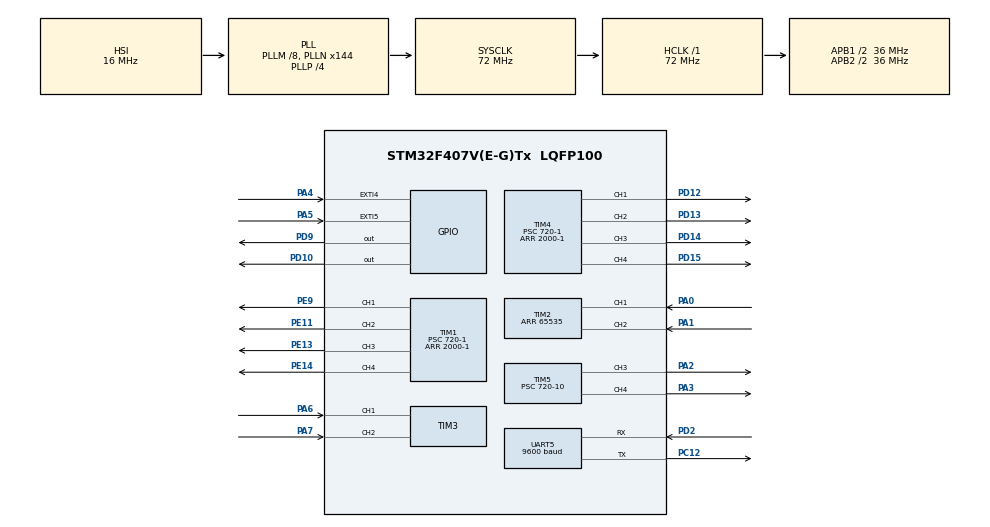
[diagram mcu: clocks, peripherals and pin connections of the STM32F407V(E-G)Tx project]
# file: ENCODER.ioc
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Mcu.Family=STM32F4
Mcu.Name=STM32F407V(E-G)Tx
Mcu.Package=LQFP100
NVIC.EXTI4_IRQn=true\:0\:0\:false\:false\:true\:true\:true
NVIC.EXTI9_5_IRQn=true\:0\:0\:false\:false\:true\:true\:true
NVIC.PriorityGroup=NVIC_PRIORITYGROUP_0
NVIC.UART5_IRQn=true\:0\:0\:false\:false\:true\:true\:true
PA0-WKUP.Signal=S_TIM2_CH1_ETR
PA1.Signal=S_TIM2_CH2
PA13.Mode=Serial_Wire
PA13.Signal=SYS_JTMS-SWDIO
PA14.Mode=Serial_Wire
PA14.Signal=SYS_JTCK-SWCLK
PA2.Signal=S_TIM5_CH3
PA3.Signal=S_TIM5_CH4
PA4.GPIO_ModeDefaultEXTI=GPIO_MODE_IT_RISING_FALLING
PA4.Signal=GPXTI4
PA5.GPIO_ModeDefaultEXTI=GPIO_MODE_IT_RISING_FALLING
PA5.Signal=GPXTI5
PA6.Signal=S_TIM3_CH1
PA7.Signal=S_TIM3_CH2
PC12.Mode=Asynchronous
PC12.Signal=UART5_TX
PC14-OSC32_IN.Mode=LSE-External-Oscillator
PC14-OSC32_IN.Signal=RCC_OSC32_IN
PC15-OSC32_OUT.Mode=LSE-External-Oscillator
PC15-OSC32_OUT.Signal=RCC_OSC32_OUT
PD10.Signal=GPIO_Output
PD12.Signal=S_TIM4_CH1
PD13.Signal=S_TIM4_CH2
PD14.Signal=S_TIM4_CH3
PD15.Signal=S_TIM4_CH4
PD2.Mode=Asynchronous
PD2.Signal=UART5_RX
PD9.Signal=GPIO_Output
PE11.Signal=S_TIM1_CH2
PE13.Signal=S_TIM1_CH3
PE14.Signal=S_TIM1_CH4
PE9.Signal=S_TIM1_CH1
PH0-OSC_IN.Mode=HSE-External-Oscillator
PH0-OSC_IN.Signal=RCC_OSC_IN
PH1-OSC_OUT.Mode=HSE-External-Oscillator
PH1-OSC_OUT.Signal=RCC_OSC_OUT
ProjectManager.HeapSize=0x200
ProjectManager.StackSize=0x400
ProjectManager.TargetToolchain=STM32CubeIDE
RCC.48MHZClocksFreq_Value=41142857.14285714
RCC.AHBFreq_Value=72000000
RCC.APB1CLKDivider=RCC_HCLK_DIV2
RCC.APB1Freq_Value=36000000
RCC.APB1TimFreq_Value=72000000
RCC.APB2CLKDivider=RCC_HCLK_DIV2
RCC.APB2Freq_Value=36000000
RCC.APB2TimFreq_Value=72000000
RCC.CortexFreq_Value=72000000
RCC.HCLKFreq_Value=72000000
RCC.HSE_VALUE=8000000
RCC.HSI_VALUE=16000000
RCC.PLLM=8
RCC.PLLN=144
RCC.PLLP=RCC_PLLP_DIV4
RCC.PLLQ=7
RCC.SYSCLKFreq_VALUE=72000000
RCC.SYSCLKSource=RCC_SYSCLKSOURCE_PLLCLK
RCC.VCOOutputFreq_Value=288000000
SH.S_TIM1_CH1.0=TIM1_CH1,PWM Generation1 CH1
SH.S_TIM1_CH2.0=TIM1_CH2,PWM Generation2 CH2
SH.S_TIM1_CH3.0=TIM1_CH3,PWM Generation3 CH3
SH.S_TIM1_CH4.0=TIM1_CH4,PWM Generation4 CH4
SH.S_TIM2_CH1_ETR.0=TIM2_CH1,Encoder_Interface
SH.S_TIM2_CH2.0=TIM2_CH2,Encoder_Interface
SH.S_TIM3_CH1.0=TIM3_CH1,Encoder_Interface
SH.S_TIM3_CH2.0=TIM3_CH2,Encoder_Interface
SH.S_TIM4_CH1.0=TIM4_CH1,PWM Generation1 CH1
SH.S_TIM4_CH2.0=TIM4_CH2,PWM Generation2 CH2
SH.S_TIM4_CH3.0=TIM4_CH3,PWM Generation3 CH3
SH.S_TIM4_CH4.0=TIM4_CH4,PWM Generation4 CH4
SH.S_TIM5_CH3.0=TIM5_CH3,PWM Generation3 CH3
SH.S_TIM5_CH4.0=TIM5_CH4,PWM Generation4 CH4
TIM1.Channel-PWM\ Generation1\ CH1=TIM_CHANNEL_1
TIM1.Channel-PWM\ Generation2\ CH2=TIM_CHANNEL_2
TIM1.Channel-PWM\ Generation3\ CH3=TIM_CHANNEL_3
TIM1.Channel-PWM\ Generation4\ CH4=TIM_CHANNEL_4
TIM1.Period=2000-1
TIM1.Prescaler=720-1
TIM2.AutoReloadPreload=TIM_AUTORELOAD_PRELOAD_ENABLE
TIM2.EncoderMode=TIM_ENCODERMODE_TI12
TIM2.IC1Filter=10
TIM2.IC2Filter=10
TIM2.Period=65535
TIM3.EncoderMode=TIM_ENCODERMODE_TI12
TIM4.Channel-PWM\ Generation1\ CH1=TIM_CHANNEL_1
TIM4.Channel-PWM\ Generation2\ CH2=TIM_CHANNEL_2
TIM4.Channel-PWM\ Generation3\ CH3=TIM_CHANNEL_3
TIM4.Channel-PWM\ Generation4\ CH4=TIM_CHANNEL_4
TIM4.Period=2000-1
TIM4.Prescaler=720-1
TIM5.Channel-PWM\ Generation3\ CH3=TIM_CHANNEL_3
TIM5.Channel-PWM\ Generation4\ CH4=TIM_CHANNEL_4
TIM5.Period=2000-1
TIM5.Prescaler=720-10
UART5.BaudRate=9600
UART5.VirtualMode=Asynchronous
board=STM32F407G-DISC1

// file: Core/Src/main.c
/* USER CODE BEGIN Header */
/**
  ******************************************************************************
  * @file           : main.c
  * @brief          : Main program body
  ******************************************************************************
  * @attention
  *
  * <h2><center>&copy; Copyright (c) 2020 STMicroelectronics.
  * All rights reserved.</center></h2>
  *
  * This software component is licensed by ST under BSD 3-Clause license,
  * the "License"; You may not use this file except in compliance with the
  * License. You may obtain a copy of the License at:
  *                        opensource.org/licenses/BSD-3-Clause
  *
  ******************************************************************************
  */
/* USER CODE END Header */
#include "main.h"

/* USER CODE BEGIN Includes */
#include <math.h>
#include <stdlib.h>

/* USER CODE END Includes */

TIM_HandleTypeDef htim1;
TIM_HandleTypeDef htim2;
TIM_HandleTypeDef htim3;
TIM_HandleTypeDef htim4;
TIM_HandleTypeDef htim5;

UART_HandleTypeDef huart5;

void SystemClock_Config(void);
static void MX_GPIO_Init(void);
static void MX_TIM2_Init(void);
static void MX_TIM4_Init(void);
static void MX_UART5_Init(void);
static void MX_TIM3_Init(void);
static void MX_TIM1_Init(void);
static void MX_TIM5_Init(void);

/* USER CODE BEGIN 0 */
int ADC_val;
uint8_t servo;
int val;
int encoder;
int encoder2;
 int final_carrera;
 int final_carrera_2;
int test=0;
#define TAMBUFFER 12
double trans_time;
typedef struct {
uint8_t buffer[10];
uint8_t selector;
int coma;
int pos;

}buff;
uint8_t* pointer;
uint8_t buffer[10];  //es el bufer de lectura , espacio == 32

typedef struct{
	char buffer[4];
	int coma;
	int valor;
}Lector;

typedef struct{
float	Kp;
float Ki;
float integrador;
double current_time;
}PID_struct;

PID_struct pid = {
    .Kp = 5.2268,
    .Ki = 2.4363,
    .integrador = 0

};
PID_struct pid_base = {
    .Kp = 5.2268,
    .Ki = 2.4363,
    .integrador = 0

};

int prueba;
int prueba2;
buff receptor;
Lector servomotor;
Lector motorbase;
Lector motorcodo;
Lector gripper;

//SERVOMOTOR
float Delta_time;
int step;
int error_servo;

//varaibles PID
float error;
float error2;
float proporcional;
float proporcional2;
float integrador = 0;
float integrador2 =0 ;
float error_prev= 0;
float error_prev2;
float derivativo;
float derivativo_prev= 0;
float alpha=0.1;
float derivativo2;
int signo;
float a =5.2268;//11.5;//9 //valores teoricos 2.87
float a2 = 4;
float b = 2.4363;//16.4  //valores teoricos 8.065
float b2 =1;
float c =0; //5.5
float c2=0;
float dt;
float dt2;
float current_time;
float current_time2;
//función PID
int salidaX;
int salida2;

float pid_error;

void HAL_GPIO_EXTI_Callback(uint16_t GPIO_Pin){
	if(HAL_GPIO_ReadPin(GPIOA, GPIO_PIN_4)){
final_carrera = 1;
	 __HAL_TIM_SET_COMPARE(&htim4, TIM_CHANNEL_2, 0);
	 __HAL_TIM_SET_COMPARE(&htim4, TIM_CHANNEL_3, 0);
	}
	else{
		final_carrera = 0;
	}

	if(HAL_GPIO_ReadPin(GPIOA,GPIO_PIN_5)){
	final_carrera_2 = 1;
	__HAL_TIM_SET_COMPARE(&htim3, TIM_CHANNEL_1,0);
	__HAL_TIM_SET_COMPARE(&htim3, TIM_CHANNEL_2,0);

	}
	else
		final_carrera_2= 0;
}

char buffe[4];
int coma;

int senalbase;
int senalcodo;
int senalservo;

void HAL_UART_RxCpltCallback(UART_HandleTypeDef *huart){

if (receptor.selector == 'M'){
	 HAL_UART_Receive_IT(&huart5, (uint8_t*)motorbase.buffer,  4* sizeof(uint8_t ));
	 //enviar como ASCI para ganar resolucion y luego convertir
	 receptor.selector = 0;
	 prueba =1;
	 senalbase =1;
}

if(receptor.selector == 's'){
	HAL_UART_Receive_IT(&huart5,(uint8_t*) servomotor.buffer,   4*sizeof(char));
	receptor.selector = 0;
	senalservo = 1;
}

if(receptor.selector == 'm'){

	HAL_UART_Receive_IT(&huart5,(uint8_t*) motorcodo.buffer,   4*sizeof(char));
	receptor.selector = 0;
	senalcodo = 1;
}
if(receptor.selector == 'S'){

	HAL_UART_Receive_IT(&huart5,(uint8_t*) gripper.buffer,   4*sizeof(char));
	receptor.selector = 0;

}

else HAL_UART_Receive_IT(&huart5, &receptor.selector,  sizeof(uint8_t ));

//	 receptor.pos++;
 // receptor.buff_pointer =  &receptor.buffer[(receptor.pos)  % TAMBUFFER];

//	HAL_UART_Receive_IT(&huart5, &buffe,  4* sizeof(char));
}

void resetBuffer(uint8_t* buffer){
	  for(int i = 0; i<sizeof(buffer) ; i++){
		  buffer[i] = '0';
	  }

}

	//}

int CaclValue(Lector motor){
	int i,value;
	if(motor.buffer[0] == '-'){
		for( i= 0;i<4;i++){
		if(motor.buffer[i] == '.')
			{
			motor.coma= i;
			}
		}

		if(motor.coma == 3)
			value= (-1)*((motor.buffer[1]-48)*10 + (motor.buffer[2]-48)) ;

		else
			value = (-1)*( motor.buffer[1]-48) ;

	}

	if(motor.buffer[0] != '-'){
		motor.coma = 0;
		for( i=0;i<4;i++){

			if(motor.buffer[i] == '.')
				{
				motor.coma= i;
				}
			}
		if(motor.coma == 2)
				value = ((motor.buffer[0]-48)*10 + (motor.buffer[1]-48)) ;
		//if(motor.buffer[3] == 0)
				//		value = ((motor.buffer[0]-48)*10 + (motor.buffer[1]-48)) ;

			else
				value= (motor.buffer[0]-48)  ;

	}
	return value;
}

 // buscar como reiniciar el buffer cuando termine de leer ; hacer por ej buff_pointer- buff[0] % BUFFSIZE
 // o hacr una struct que tenga un numero con la posicion y operar con ese num .
// lee mal al principio , hay que tmetelre un epacio y lo hce 2veces(inicilaizacion en non blocking?)
  // el segundo caracter no envia bien -> so  se muevee bien en memoria? se salta la pos 2 .
int PID (int consigna, int lectura){
	float salida;
	dt = HAL_GetTick()-current_time;
   // float integrador;
	error = consigna-lectura;  //letura de los errores en unidades de encoder
 error = error* (2*3.14)/7600 ; //lo paso a unidades de angulo
	proporcional = a*error; //LO PASO A VOLTIOS  (1700/8.31)
    integrador += ((b)*error)*dt/1000;
    //me protejo del efecto windup limitando la aculumación del integrador

//   if (integrador  > 500) integrador = 500; //que esro sea el error
//   if (integrador  < -500) integrador = -500;
   //  derivativo =c*((error-error_prev)/(dt/1000));
     derivativo =  c*(lectura* (2*3.14)/7600 -error_prev)/dt;
   //filtro paso bajo
    // derivativo = alpha*derivativo +(1-alpha)*derivativo_prev;
     //derivativo = c*(( (error-error_prev)/(dt/1000))*alpha + (1-alpha)*derivativo    );
   //  if(derivativo> 2000) derivativo =0;

//	else integrador= 0;
     //efectos de la tensión
	salida = (proporcional +integrador  - derivativo);

	signo = salida/fabs(salida);

	if(fabs(salida) >= 2){
		salida = signo*(fabs(salida)-0.92)/0.005; //signo*(abs(salida)-0.92)/0.005
	}
	if((fabs(salida) < 2)  ){//&& (salida >1.2)  // if((error < 2)  )
		salida = signo*(fabs(salida)-0.37)/0.0084; //signo*(abs(salida)-0.37)/0.0084
		}
//	if((fabs(salida) < 1)  ){//&& (salida >1.2)  // if((error < 2)  )
//			salida = 0; //signo*(abs(salida)-0.37)/0.0084
//			}
	//else salida = 0;//salida/0.0041;
if((fabs(consigna-lectura) <  5) ) {
	if (fabs(integrador) < 1.5)
	integrador = 0;
	proporcional = 0;
	derivativo=0;

}
	//limitacion de la salida
	if(salida >2000) salida = 2000;
	if(salida <-2000) salida = -2000;
	//no linealidad
	//if ( (salida <250) && (salida >100)) habra que tratar la parte baja del sistema

	error_prev =lectura* (2*3.14)/7600;// error;

	current_time = HAL_GetTick();
return salida;
}
float PWM_Control(float output){
	int signo = output/fabs(output);

	if(fabs(output) >= 2){
		output = signo*(fabs(output)-0.92)/0.005; //signo*(abs(salida)-0.92)/0.005
	}
	if((fabs(output) < 2)  ){//&& (salida >1.2)  // if((error < 2)  )
		output = signo*(fabs(output)-0.37)/0.0084; //signo*(abs(salida)-0.37)/0.0084
		}
//	if(fabs(output) <1 )output = 0;
	return output;
}

int PID_fun (int consigna, int lectura,PID_struct *pid){
	float salida;
	 double dt = HAL_GetTick()-pid->current_time;

	error = consigna-lectura;  //letura de los errores en unidades de encoder
 error = error* (2*3.14)/7600 ; //lo paso a unidades de angulo
	 float proporcional = pid->Kp*error; //LO PASO A VOLTIOS  (1700/8.31)
    pid->integrador += ((pid->Ki)*error)*dt/1000;

	salida = (proporcional + pid->integrador - derivativo);

	salida = PWM_Control(salida);
if(salida <1.1 && error >0.1) salida =1.1;

if((fabs(consigna-lectura) <  5) ) {
	if (fabs(integrador) < 2) // 1.5
	integrador = 0;
	proporcional = 0;
	derivativo=0;

}

	if(salida >2000) salida = 2000;
	if(salida <-2000) salida = -2000;
	pid->current_time = HAL_GetTick();
return salida;
}

int PID2 (int consigna, int lectura){

	int salida;
	dt2 = HAL_GetTick()-current_time2;
	error2 = consigna-lectura;
	error2 = error2* (2*3.14)/7760 ;
	proporcional2 = (2000/12)*a2*error2;
	 integrador2 += (2000/12)*(b2*error2)*0.011;
//	 if (integrador2  > 1000) integrador = 1000; //que esro sea el error
//	     if (integrador2  < -1000) integrador = -1000;
	 derivativo2 = (2000/12)*c2*(error2-error_prev2)/(dt/1000);
	salida = proporcional2 + integrador2 +derivativo2;
	error_prev2 = error2;
	current_time2 = HAL_GetTick();
return salida;
}

float GetTime(){
return HAL_GetTick();
}
 //Implementacion de modelo cinemático inverso
 // INPUT : x,yz . VALUE = L1,L2
  float x_c;
  float y_c;
  float z_c;
  float L1 = 27,L2 = 17;
  double a_c;
double r;
 void inverseKinematic(float x,float y,float z){

	  float r = sqrt((x*x) + (y*y));
	  float a = sqrt((r*r) + (z*z));
	 x_c = atan(y/x);
	y_c =  acos((  pow(a,2) -(pow(L1,2)) - (pow(L2,2))  ) / (2*L1*L2)  );
	 z_c = atan(z/r) - acos( ((pow(a,2)) + (pow(L1,2)) - (pow(L2,2))     )   /(2*L1*a) );

 }

int32_t* encoder_test;
/* USER CODE END 0 */

int main(void)
{

  /* MCU Configuration--------------------------------------------------------*/

  /* Reset of all peripherals, Initializes the Flash interface and the Systick. */
  HAL_Init();

  /* Configure the system clock */
  SystemClock_Config();

  /* Initialize all configured peripherals */
  MX_GPIO_Init();
  MX_TIM2_Init();
  MX_TIM4_Init();
  MX_UART5_Init();
  MX_TIM3_Init();
  MX_TIM1_Init();
  MX_TIM5_Init();
  /* USER CODE BEGIN 2 */

  HAL_TIM_PWM_Start(&htim1, TIM_CHANNEL_1);
  HAL_TIM_PWM_Start(&htim1, TIM_CHANNEL_2);
  HAL_TIM_PWM_Start(&htim1, TIM_CHANNEL_3);
  HAL_TIM_PWM_Start(&htim1, TIM_CHANNEL_4);
  HAL_TIM_PWM_Start(&htim4, TIM_CHANNEL_1);
  HAL_TIM_PWM_Start(&htim4, TIM_CHANNEL_2);
  HAL_TIM_PWM_Start(&htim4, TIM_CHANNEL_3);
  HAL_TIM_PWM_Start(&htim4, TIM_CHANNEL_4);
  HAL_TIM_PWM_Start(&htim5, TIM_CHANNEL_3);
  HAL_TIM_PWM_Start(&htim5, TIM_CHANNEL_4);
  //HAL_TIM_PWM_Start(&htim3, TIM_CHANNEL_1);
  //HAL_TIM_PWM_Start(&htim3, TIM_CHANNEL_2);
  //HAL_TIM_PWM_Start(&htim3, TIM_CHANNEL_3);

  //inicio los encoder para las pruebas
 // HAL_TIM_Encoder_Start(&htim3, TIM_CHANNEL_ALL);
 // HAL_TIM_Encoder_Start(&htim2, TIM_CHANNEL_ALL); //puedo inic
 // encoder_test = &(TIM3->CNT);

/*__HAL_TIM_SET_COMPARE(&htim1,TIM_CHANNEL_2,2000);
__HAL_TIM_SET_COMPARE(&htim1,TIM_CHANNEL_3,2000);
__HAL_TIM_SET_COMPARE(&htim1,TIM_CHANNEL_4,2000);
__HAL_TIM_SET_COMPARE(&htim5,TIM_CHANNEL_3,2000);
__HAL_TIM_SET_COMPARE(&htim5,TIM_CHANNEL_4,2000);
*/

  //inicializar el buffer
receptor.pos = 0;
resetBuffer(receptor.buffer);

  HAL_UART_Receive_IT(&huart5, &receptor.selector, sizeof(uint8_t ));
 //fer chupame los huevos
  receptor.pos = 0;
//reubicar el motro hasta el punto 0
//  HAL_NVIC_EnableIRQ(EXTI0_IRQn);

  //secuencia de arranque
integrador =0;
error_prev =0;
error_prev2 = 0;
step = 100;

 HAL_Delay(100); //100

  final_carrera = HAL_GPIO_ReadPin(GPIOA, GPIO_PIN_4);
  final_carrera_2 = HAL_GPIO_ReadPin(GPIOA, GPIO_PIN_5);
  while (((final_carrera_2 == 0) || (final_carrera == 0))){
	  	  if(final_carrera == 0){
	  __HAL_TIM_SET_COMPARE(&htim4, TIM_CHANNEL_2, 0);
	  __HAL_TIM_SET_COMPARE(&htim4, TIM_CHANNEL_3,400);//400
	  	  }

	  //test
	  	  if (final_carrera_2 == 0){
	  //__HAL_TIM_SET_COMPARE(&htim4, TIM_CHANNEL_1, 0);  //0
	 // __HAL_TIM_SET_COMPARE(&htim4, TIM_CHANNEL_4, 100);//600

	  		  TIM4->CCR1 = 00;
	  		TIM4->CCR4 = 400;
	  		//__HAL_TIM_SET_COMPARE(&htim4, TIM_CHANNEL_4,PWM_Control(4)); // mas bonito pero da igual 400

	//  encoder2  = TIM3->CNT;
	  	  }

  }

  //una vez encontrado el 0, reinicializar todo y avanzar n poco el motor para no llegar al 0
  __HAL_TIM_SET_COMPARE(&htim4, TIM_CHANNEL_2, 0);
  __HAL_TIM_SET_COMPARE(&htim4, TIM_CHANNEL_3, 10); //100

  __HAL_TIM_SET_COMPARE(&htim4, TIM_CHANNEL_1, 0);
  __HAL_TIM_SET_COMPARE(&htim4, TIM_CHANNEL_4, 10); //100

  HAL_Delay(200);
  __HAL_TIM_SET_COMPARE(&htim4, TIM_CHANNEL_2, 0);
  __HAL_TIM_SET_COMPARE(&htim4, TIM_CHANNEL_3, 0);

  __HAL_TIM_SET_COMPARE(&htim4, TIM_CHANNEL_1, 0);
  __HAL_TIM_SET_COMPARE(&htim4, TIM_CHANNEL_4, 0); //100
  HAL_Delay(100);
  //HAL_TIM_Encoder_Start(&htim3, TIM_CHANNEL_ALL);
 // HAL_TIM_Encoder_Start(&htim2, TIM_CHANNEL_ALL); //puedo iniciar el temprizaodr despues y asi no hace falta reiniciarlo?
motorbase.valor = 0;
motorcodo.valor= 0;
servomotor.valor =0;
gripper.valor = 0;
 HAL_TIM_Encoder_Start(&htim3, TIM_CHANNEL_ALL);
 HAL_TIM_Encoder_Start(&htim2, TIM_CHANNEL_ALL); //puedo inic

 integrador2  = 0;

//Pruebas

current_time =HAL_GetTick();
current_time2 =HAL_GetTick();
trans_time =HAL_GetTick();
pid.current_time = HAL_GetTick();
pid_base.current_time = HAL_GetTick();
  /* USER CODE END 2 */

  /* Infinite loop */
  /* USER CODE BEGIN WHILE */
  while (1)
  {

	//procesar la info recibida
	//  motorcodo.valor = (90-( (CaclValue(motorcodo)) ) ) *7600/(180*2); // 4  300
	  motorbase.valor = (90-(CaclValue(motorbase))) *7600/(180*2); // 4  300
//motorbase.valor =440-  (motorbase.valor)*10;
//motorbase.valor = (-4)* CaclValue(motorbase) +150;

	  if( HAL_GetTick() -trans_time >140000 ){
		  motorcodo.valor = 1000;
	  }
	  else if ( HAL_GetTick() -trans_time >100000 ){
		  motorcodo.valor = 2400;
	  }
	  else if ( HAL_GetTick() -trans_time >60000 ){
	 		  motorcodo.valor = 300;
	 	  }
	  else if ( HAL_GetTick() -trans_time >15000 ){
	 		  motorcodo.valor = 2000;
	 	  }
	  else motorcodo.valor = 0000;
	//  trans_time = HAL_GetTick();
if(motorbase.valor<0) motorbase.valor =0;
if (motorbase.valor > 1000) motorbase.valor = 1000;
//receptor.pos =  ((receptor.buffer[0] - 48)*1000) +	((receptor.buffer[1] - 48)*100) + ((receptor.buffer[2] - 48)*10) + ((receptor.buffer[3] -48));

//el numero de vueltas es como de 6800. No se deben tolerar valores por encima ni por debajo de esos valores
// quizás no usar directamente el valor del contador, sino una versión filtrada del mismo
encoder =  TIM2->CNT;
if(encoder > 7000) encoder = 0; // ha dado mas vuelta de la necesaria

/*if(  fabs(encoder-receptor.pos) < 10 ) prueba = 0;

if(   prueba == 0){
	__HAL_TIM_SET_COMPARE(&htim4, TIM_CHANNEL_2, 0);
		__HAL_TIM_SET_COMPARE(&htim4, TIM_CHANNEL_3, 0);

  }
*/
//dt = HAL_GetTick()-current_time;
//motorbase.valor = 300;

//proportional
salidaX =PID_fun(motorbase.valor,encoder,&pid_base);
if(  salidaX> 0   ){ //  && final_carrera_2 == 0  hay que meter condicion de final de carrera para descargar la accion integral

	__HAL_TIM_SET_COMPARE(&htim4, TIM_CHANNEL_2,salidaX);//1000, aqui es sincrono, PRUEBA
	__HAL_TIM_SET_COMPARE(&htim4, TIM_CHANNEL_3, 0); //cambiarlo por salidas analogcas  PWM

	   }
else if (salidaX < 0  && final_carrera_2 == 0 ){  // cmbiar por leer el buffer : [0]*1000 + [1]*100 +[2]*10 +[3] (todos +48 para concordar con ASCI)

	__HAL_TIM_SET_COMPARE(&htim4, TIM_CHANNEL_2, 0);
	__HAL_TIM_SET_COMPARE(&htim4, TIM_CHANNEL_3, -salidaX); //prueba
}

//
//
//
//if(  (encoder ) >(motorbase.valor ) && final_carrera == 0    ){
//
//prueba = a*(encoder-motorbase.valor);
//
//
//
//salida =PID2(encoder,motorbase.valor);
//	//prueba = receptor.pos - salida;
//	__HAL_TIM_SET_COMPARE(&htim4, TIM_CHANNEL_2, 0);
//	__HAL_TIM_SET_COMPARE(&htim4, TIM_CHANNEL_3, salida); //prueba
//
//
//	   }
//else if (  (encoder ) <( motorbase.valor  ) ){  // cmbiar por leer el buffer : [0]*1000 + [1]*100 +[2]*10 +[3] (todos +48 para concordar con ASCI)
//	//dt = HAL_GetTick()- current_time;
////	salida =PID(motorbase.valor, encoder);
//	prueba = a*(motorbase.valor - encoder);
//	salida =PID2(motorbase.valor,encoder);
//	__HAL_TIM_SET_COMPARE(&htim4, TIM_CHANNEL_2,salida);//1000, aqui es sincrono, PRUEBA
//	__HAL_TIM_SET_COMPARE(&htim4, TIM_CHANNEL_3, 0); //cambiarlo por salidas analogcas  PWM
//
//}

// MOTOR CODO SIN SENSOR DE CARRERA

//procesar la info recibida

//motorcodo.valor =440-  (motorcodo.valor)*10;

//motorcodo.valor = -20*CaclValue(motorcodo) + 975; // 4  300

//if(motorcodo.valor<0) motorcodo.valor =0;
//if(motorcodo.valor>2300) motorcodo.valor =2300;
//motorcodo.valor =2420;
//motorcodo.valor = 1200;
//if(motorcodo.valor>650) motorcodo.valor =650;
//receptor.pos =  ((receptor.buffer[0] - 48)*1000) +	((receptor.buffer[1] - 48)*100) + ((receptor.buffer[2] - 48)*10) + ((receptor.buffer[3] -48));

//el numero de vueltas es como de 6800. No se deben tolerar valores por encima ni por debajo de esos valores
// quizás no usar directamente el valor del contador, sino una versión filtrada del mismo
encoder2 =  TIM3->CNT;
if(encoder2 > 7000) encoder2 = 0; // ha dado mas vuelta de la necesaria

/*if(  fabs(encoder-receptor.pos) < 10 ) prueba = 0;

if(   prueba == 0){
	__HAL_TIM_SET_COMPARE(&htim4, TIM_CHANNEL_2, 0);
		__HAL_TIM_SET_COMPARE(&htim4, TIM_CHANNEL_3, 0);

  }
*/
//dt = HAL_GetTick()-current_time;
//motorcodo.valor = 100;

//proportional

//salida2 =PID(motorcodo.valor, encoder2);
salida2 =PID_fun(motorcodo.valor, encoder2,&pid);
//salida2 = PID_exp(motorcodo.valor, encoder2,&pid);
if(  salida2> 0   ){ //  && final_carrera_2 == 0  hay que meter condicion de final de carrera para descargar la accion integral

//salida2 =PID(encoder2,motorcodo.valor);

	//prueba = receptor.pos - salida;2

//	__HAL_TIM_SET_COMPARE(&htim4, TIM_CHANNEL_1,salida2);//1000, aqui es sincrono, PRUEBA
//		__HAL_TIM_SET_COMPARE(&htim4, TIM_CHANNEL_4, 0); //cambiarlo por salidas analogcas  PW

		TIM4->CCR1 = salida2;
		TIM4->CCR4=0;

	   }
else if (salida2 < 0  && final_carrera_2 == 0 ){  //&& final_carrera_2 == 0  cmbiar por leer el buffer : [0]*1000 + [1]*100 +[2]*10 +[3] (todos +48 para concordar con ASCI)

	 TIM4->CCR1 = 0;
	 TIM4->CCR4=-salida2;
//	__HAL_TIM_SET_COMPARE(&htim4, TIM_CHANNEL_1, 0);
//	__HAL_TIM_SET_COMPARE(&htim4, TIM_CHANNEL_4, -salida2); //prueba
}

//old code

//if(  (encoder2 ) >(motorcodo.valor ) && final_carrera_2 == 0  ){
//
//prueba2 = a*(encoder2-motorcodo.valor);
////salida2 =PID(encoder2,motorcodo.valor);
//salida2 =PID(motorcodo.valor, encoder2);
//
//	//prueba = receptor.pos - salida;2
//	__HAL_TIM_SET_COMPARE(&htim4, TIM_CHANNEL_1, 0);
//	__HAL_TIM_SET_COMPARE(&htim4, TIM_CHANNEL_4, -salida2); //prueba
//
//
//	   }
//else if (  (encoder2 ) <( motorcodo.valor  ) ){  // cmbiar por leer el buffer : [0]*1000 + [1]*100 +[2]*10 +[3] (todos +48 para concordar con ASCI)
//
//	salida2 =PID(motorcodo.valor, encoder2);
//	prueba2 = a*(motorcodo.valor - encoder2);
//
//	__HAL_TIM_SET_COMPARE(&htim4, TIM_CHANNEL_1,salida2);//1000, aqui es sincrono, PRUEBA
//	__HAL_TIM_SET_COMPARE(&htim4, TIM_CHANNEL_4, 0); //cambiarlo por salidas analogcas  PWM
//
//}

//val = servo+50;
//val = (buffe[0]-48)*100+ (buffe[1]-48)*10+ buffe[2]-48 - 30 ;

servomotor.valor = (CaclValue(servomotor)*0.9) + 150;
//servomotor.valor = 120;
if (servomotor.valor >240) servomotor.valor= 240;
if (servomotor.valor <100) servomotor.valor= 100;

//secuencia para eliminar el fecto del retaro para la señal
//if(HAL_GetTick() - Delta_time >10 ){
//
//	Delta_time = HAL_GetTick();
//	error_servo = servomotor.valor - step; // puede ser negativo
//	step = step + error_servo/8;
//
//}

__HAL_TIM_SET_COMPARE(&htim1,TIM_CHANNEL_1,servomotor.valor);

gripper.valor = ((gripper.buffer[0]-48)*100 + (gripper.buffer[1]-48)*10 +(gripper.buffer[2]-48)) *1;

if (gripper.valor < 140) //gripper.valor = 120;
__HAL_TIM_SET_COMPARE(&htim1,TIM_CHANNEL_2,90);
else
	__HAL_TIM_SET_COMPARE(&htim1,TIM_CHANNEL_2,140);

HAL_Delay(1);
  }

    /* USER CODE END WHILE */

}

void SystemClock_Config(void)
{
  RCC_OscInitTypeDef RCC_OscInitStruct = {0};
  RCC_ClkInitTypeDef RCC_ClkInitStruct = {0};

  /** Configure the main internal regulator output voltage
  */
  __HAL_RCC_PWR_CLK_ENABLE();
  __HAL_PWR_VOLTAGESCALING_CONFIG(PWR_REGULATOR_VOLTAGE_SCALE1);
  /** Initializes the RCC Oscillators according to the specified parameters
  * in the RCC_OscInitTypeDef structure.
  */
  RCC_OscInitStruct.OscillatorType = RCC_OSCILLATORTYPE_HSI;
  RCC_OscInitStruct.HSIState = RCC_HSI_ON;
  RCC_OscInitStruct.HSICalibrationValue = RCC_HSICALIBRATION_DEFAULT;
  RCC_OscInitStruct.PLL.PLLState = RCC_PLL_ON;
  RCC_OscInitStruct.PLL.PLLSource = RCC_PLLSOURCE_HSI;
  RCC_OscInitStruct.PLL.PLLM = 8;
  RCC_OscInitStruct.PLL.PLLN = 144;
  RCC_OscInitStruct.PLL.PLLP = RCC_PLLP_DIV4;
  RCC_OscInitStruct.PLL.PLLQ = 7;
  if (HAL_RCC_OscConfig(&RCC_OscInitStruct) != HAL_OK)
  {
    Error_Handler();
  }
  /** Initializes the CPU, AHB and APB buses clocks
  */
  RCC_ClkInitStruct.ClockType = RCC_CLOCKTYPE_HCLK|RCC_CLOCKTYPE_SYSCLK
                              |RCC_CLOCKTYPE_PCLK1|RCC_CLOCKTYPE_PCLK2;
  RCC_ClkInitStruct.SYSCLKSource = RCC_SYSCLKSOURCE_PLLCLK;
  RCC_ClkInitStruct.AHBCLKDivider = RCC_SYSCLK_DIV1;
  RCC_ClkInitStruct.APB1CLKDivider = RCC_HCLK_DIV2;
  RCC_ClkInitStruct.APB2CLKDivider = RCC_HCLK_DIV2;

  if (HAL_RCC_ClockConfig(&RCC_ClkInitStruct, FLASH_LATENCY_2) != HAL_OK)
  {
    Error_Handler();
  }
}

static void MX_TIM1_Init(void)
{

  TIM_MasterConfigTypeDef sMasterConfig = {0};
  TIM_OC_InitTypeDef sConfigOC = {0};
  TIM_BreakDeadTimeConfigTypeDef sBreakDeadTimeConfig = {0};

  htim1.Instance = TIM1;
  htim1.Init.Prescaler = 720-1;
  htim1.Init.CounterMode = TIM_COUNTERMODE_UP;
  htim1.Init.Period = 2000-1;
  htim1.Init.ClockDivision = TIM_CLOCKDIVISION_DIV1;
  htim1.Init.RepetitionCounter = 0;
  htim1.Init.AutoReloadPreload = TIM_AUTORELOAD_PRELOAD_DISABLE;
  if (HAL_TIM_PWM_Init(&htim1) != HAL_OK)
  {
    Error_Handler();
  }
  sMasterConfig.MasterOutputTrigger = TIM_TRGO_RESET;
  sMasterConfig.MasterSlaveMode = TIM_MASTERSLAVEMODE_DISABLE;
  if (HAL_TIMEx_MasterConfigSynchronization(&htim1, &sMasterConfig) != HAL_OK)
  {
    Error_Handler();
  }
  sConfigOC.OCMode = TIM_OCMODE_PWM1;
  sConfigOC.Pulse = 0;
  sConfigOC.OCPolarity = TIM_OCPOLARITY_HIGH;
  sConfigOC.OCNPolarity = TIM_OCNPOLARITY_HIGH;
  sConfigOC.OCFastMode = TIM_OCFAST_DISABLE;
  sConfigOC.OCIdleState = TIM_OCIDLESTATE_RESET;
  sConfigOC.OCNIdleState = TIM_OCNIDLESTATE_RESET;
  if (HAL_TIM_PWM_ConfigChannel(&htim1, &sConfigOC, TIM_CHANNEL_1) != HAL_OK)
  {
    Error_Handler();
  }
  if (HAL_TIM_PWM_ConfigChannel(&htim1, &sConfigOC, TIM_CHANNEL_2) != HAL_OK)
  {
    Error_Handler();
  }
  if (HAL_TIM_PWM_ConfigChannel(&htim1, &sConfigOC, TIM_CHANNEL_3) != HAL_OK)
  {
    Error_Handler();
  }
  if (HAL_TIM_PWM_ConfigChannel(&htim1, &sConfigOC, TIM_CHANNEL_4) != HAL_OK)
  {
    Error_Handler();
  }
  sBreakDeadTimeConfig.OffStateRunMode = TIM_OSSR_DISABLE;
  sBreakDeadTimeConfig.OffStateIDLEMode = TIM_OSSI_DISABLE;
  sBreakDeadTimeConfig.LockLevel = TIM_LOCKLEVEL_OFF;
  sBreakDeadTimeConfig.DeadTime = 0;
  sBreakDeadTimeConfig.BreakState = TIM_BREAK_DISABLE;
  sBreakDeadTimeConfig.BreakPolarity = TIM_BREAKPOLARITY_HIGH;
  sBreakDeadTimeConfig.AutomaticOutput = TIM_AUTOMATICOUTPUT_DISABLE;
  if (HAL_TIMEx_ConfigBreakDeadTime(&htim1, &sBreakDeadTimeConfig) != HAL_OK)
  {
    Error_Handler();
  }
  HAL_TIM_MspPostInit(&htim1);

}

static void MX_TIM2_Init(void)
{

  TIM_Encoder_InitTypeDef sConfig = {0};
  TIM_MasterConfigTypeDef sMasterConfig = {0};

  htim2.Instance = TIM2;
  htim2.Init.Prescaler = 0;
  htim2.Init.CounterMode = TIM_COUNTERMODE_UP;
  htim2.Init.Period = 65535;
  htim2.Init.ClockDivision = TIM_CLOCKDIVISION_DIV1;
  htim2.Init.AutoReloadPreload = TIM_AUTORELOAD_PRELOAD_ENABLE;
  sConfig.EncoderMode = TIM_ENCODERMODE_TI12;
  sConfig.IC1Polarity = TIM_ICPOLARITY_RISING;
  sConfig.IC1Selection = TIM_ICSELECTION_DIRECTTI;
  sConfig.IC1Prescaler = TIM_ICPSC_DIV1;
  sConfig.IC1Filter = 10;
  sConfig.IC2Polarity = TIM_ICPOLARITY_RISING;
  sConfig.IC2Selection = TIM_ICSELECTION_DIRECTTI;
  sConfig.IC2Prescaler = TIM_ICPSC_DIV1;
  sConfig.IC2Filter = 10;
  if (HAL_TIM_Encoder_Init(&htim2, &sConfig) != HAL_OK)
  {
    Error_Handler();
  }
  sMasterConfig.MasterOutputTrigger = TIM_TRGO_RESET;
  sMasterConfig.MasterSlaveMode = TIM_MASTERSLAVEMODE_DISABLE;
  if (HAL_TIMEx_MasterConfigSynchronization(&htim2, &sMasterConfig) != HAL_OK)
  {
    Error_Handler();
  }

}

static void MX_TIM3_Init(void)
{

  TIM_Encoder_InitTypeDef sConfig = {0};
  TIM_MasterConfigTypeDef sMasterConfig = {0};

  htim3.Instance = TIM3;
  htim3.Init.Prescaler = 0;
  htim3.Init.CounterMode = TIM_COUNTERMODE_UP;
  htim3.Init.Period = 65535;
  htim3.Init.ClockDivision = TIM_CLOCKDIVISION_DIV1;
  htim3.Init.AutoReloadPreload = TIM_AUTORELOAD_PRELOAD_DISABLE;
  sConfig.EncoderMode = TIM_ENCODERMODE_TI12;
  sConfig.IC1Polarity = TIM_ICPOLARITY_RISING;
  sConfig.IC1Selection = TIM_ICSELECTION_DIRECTTI;
  sConfig.IC1Prescaler = TIM_ICPSC_DIV1;
  sConfig.IC1Filter = 0;
  sConfig.IC2Polarity = TIM_ICPOLARITY_RISING;
  sConfig.IC2Selection = TIM_ICSELECTION_DIRECTTI;
  sConfig.IC2Prescaler = TIM_ICPSC_DIV1;
  sConfig.IC2Filter = 0;
  if (HAL_TIM_Encoder_Init(&htim3, &sConfig) != HAL_OK)
  {
    Error_Handler();
  }
  sMasterConfig.MasterOutputTrigger = TIM_TRGO_RESET;
  sMasterConfig.MasterSlaveMode = TIM_MASTERSLAVEMODE_DISABLE;
  if (HAL_TIMEx_MasterConfigSynchronization(&htim3, &sMasterConfig) != HAL_OK)
  {
    Error_Handler();
  }

}

static void MX_TIM4_Init(void)
{

  TIM_MasterConfigTypeDef sMasterConfig = {0};
  TIM_OC_InitTypeDef sConfigOC = {0};

  htim4.Instance = TIM4;
  htim4.Init.Prescaler = 720-1;
  htim4.Init.CounterMode = TIM_COUNTERMODE_UP;
  htim4.Init.Period = 2000-1;
  htim4.Init.ClockDivision = TIM_CLOCKDIVISION_DIV1;
  htim4.Init.AutoReloadPreload = TIM_AUTORELOAD_PRELOAD_DISABLE;
  if (HAL_TIM_PWM_Init(&htim4) != HAL_OK)
  {
    Error_Handler();
  }
  sMasterConfig.MasterOutputTrigger = TIM_TRGO_RESET;
  sMasterConfig.MasterSlaveMode = TIM_MASTERSLAVEMODE_DISABLE;
  if (HAL_TIMEx_MasterConfigSynchronization(&htim4, &sMasterConfig) != HAL_OK)
  {
    Error_Handler();
  }
  sConfigOC.OCMode = TIM_OCMODE_PWM1;
  sConfigOC.Pulse = 0;
  sConfigOC.OCPolarity = TIM_OCPOLARITY_HIGH;
  sConfigOC.OCFastMode = TIM_OCFAST_DISABLE;
  if (HAL_TIM_PWM_ConfigChannel(&htim4, &sConfigOC, TIM_CHANNEL_1) != HAL_OK)
  {
    Error_Handler();
  }
  if (HAL_TIM_PWM_ConfigChannel(&htim4, &sConfigOC, TIM_CHANNEL_2) != HAL_OK)
  {
    Error_Handler();
  }
  if (HAL_TIM_PWM_ConfigChannel(&htim4, &sConfigOC, TIM_CHANNEL_3) != HAL_OK)
  {
    Error_Handler();
  }
  if (HAL_TIM_PWM_ConfigChannel(&htim4, &sConfigOC, TIM_CHANNEL_4) != HAL_OK)
  {
    Error_Handler();
  }
  HAL_TIM_MspPostInit(&htim4);

}

static void MX_TIM5_Init(void)
{

  TIM_MasterConfigTypeDef sMasterConfig = {0};
  TIM_OC_InitTypeDef sConfigOC = {0};

  htim5.Instance = TIM5;
  htim5.Init.Prescaler = 720-10;
  htim5.Init.CounterMode = TIM_COUNTERMODE_UP;
  htim5.Init.Period = 2000-1;
  htim5.Init.ClockDivision = TIM_CLOCKDIVISION_DIV1;
  htim5.Init.AutoReloadPreload = TIM_AUTORELOAD_PRELOAD_DISABLE;
  if (HAL_TIM_PWM_Init(&htim5) != HAL_OK)
  {
    Error_Handler();
  }
  sMasterConfig.MasterOutputTrigger = TIM_TRGO_RESET;
  sMasterConfig.MasterSlaveMode = TIM_MASTERSLAVEMODE_DISABLE;
  if (HAL_TIMEx_MasterConfigSynchronization(&htim5, &sMasterConfig) != HAL_OK)
  {
    Error_Handler();
  }
  sConfigOC.OCMode = TIM_OCMODE_PWM1;
  sConfigOC.Pulse = 0;
  sConfigOC.OCPolarity = TIM_OCPOLARITY_HIGH;
  sConfigOC.OCFastMode = TIM_OCFAST_DISABLE;
  if (HAL_TIM_PWM_ConfigChannel(&htim5, &sConfigOC, TIM_CHANNEL_3) != HAL_OK)
  {
    Error_Handler();
  }
  if (HAL_TIM_PWM_ConfigChannel(&htim5, &sConfigOC, TIM_CHANNEL_4) != HAL_OK)
  {
    Error_Handler();
  }
  HAL_TIM_MspPostInit(&htim5);

}

static void MX_UART5_Init(void)
{

  huart5.Instance = UART5;
  huart5.Init.BaudRate = 9600;
  huart5.Init.WordLength = UART_WORDLENGTH_8B;
  huart5.Init.StopBits = UART_STOPBITS_1;
  huart5.Init.Parity = UART_PARITY_NONE;
  huart5.Init.Mode = UART_MODE_TX_RX;
  huart5.Init.HwFlowCtl = UART_HWCONTROL_NONE;
  huart5.Init.OverSampling = UART_OVERSAMPLING_16;
  if (HAL_UART_Init(&huart5) != HAL_OK)
  {
    Error_Handler();
  }

}

static void MX_GPIO_Init(void)
{
  GPIO_InitTypeDef GPIO_InitStruct = {0};

  /* GPIO Ports Clock Enable */
  __HAL_RCC_GPIOC_CLK_ENABLE();
  __HAL_RCC_GPIOH_CLK_ENABLE();
  __HAL_RCC_GPIOA_CLK_ENABLE();
  __HAL_RCC_GPIOE_CLK_ENABLE();
  __HAL_RCC_GPIOD_CLK_ENABLE();

  /*Configure GPIO pin Output Level */
  HAL_GPIO_WritePin(GPIOD, GPIO_PIN_9|GPIO_PIN_10, GPIO_PIN_RESET);

  /*Configure GPIO pins : PA4 PA5 */
  GPIO_InitStruct.Pin = GPIO_PIN_4|GPIO_PIN_5;
  GPIO_InitStruct.Mode = GPIO_MODE_IT_RISING_FALLING;
  GPIO_InitStruct.Pull = GPIO_NOPULL;
  HAL_GPIO_Init(GPIOA, &GPIO_InitStruct);

  /*Configure GPIO pins : PD9 PD10 */
  GPIO_InitStruct.Pin = GPIO_PIN_9|GPIO_PIN_10;
  GPIO_InitStruct.Mode = GPIO_MODE_OUTPUT_PP;
  GPIO_InitStruct.Pull = GPIO_NOPULL;
  GPIO_InitStruct.Speed = GPIO_SPEED_FREQ_LOW;
  HAL_GPIO_Init(GPIOD, &GPIO_InitStruct);

  /* EXTI interrupt init*/
  HAL_NVIC_SetPriority(EXTI4_IRQn, 0, 0);
  HAL_NVIC_EnableIRQ(EXTI4_IRQn);

  HAL_NVIC_SetPriority(EXTI9_5_IRQn, 0, 0);
  HAL_NVIC_EnableIRQ(EXTI9_5_IRQn);

}

void Error_Handler(void)
{
  __disable_irq();
  while (1)
  {
  }
}

/************************ (C) COPYRIGHT STMicroelectronics *****END OF FILE****/
